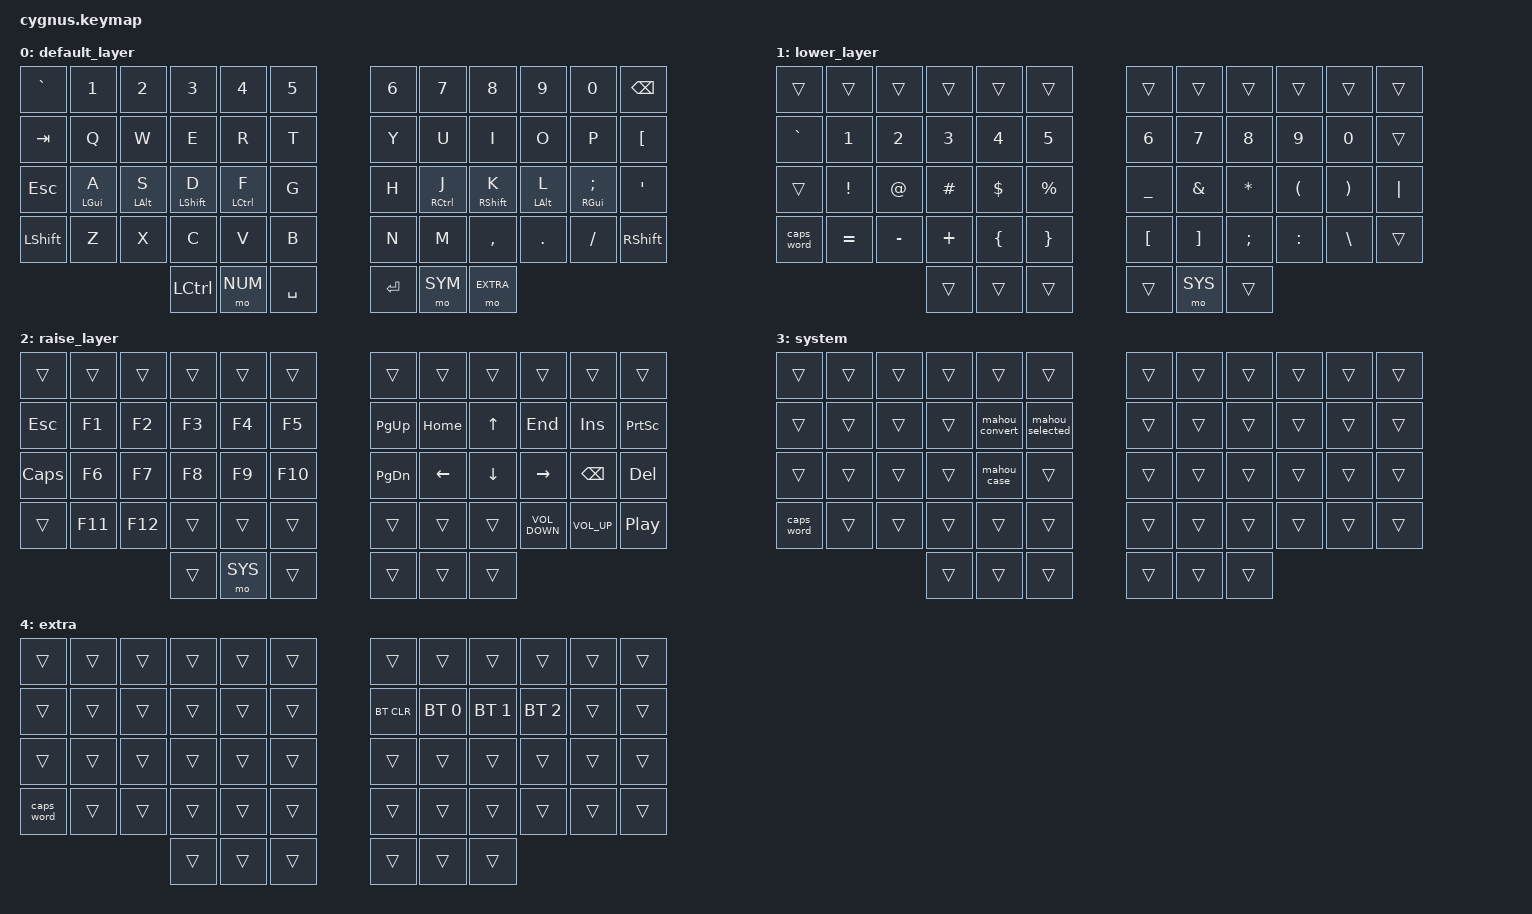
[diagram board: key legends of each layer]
#include <behaviors.dtsi>
#include <dt-bindings/zmk/bt.h>
#include <dt-bindings/zmk/keys.h>

#define DEFAULT 0
#define NUM 1
#define SYM 2
#define SYS 3
#define EXTRA 4

&lt {
    tapping-term-ms = <300>;
    quick-tap-ms = <200>;
    flavor = "hold-preferred";
};

&caps_word { continue-list = <UNDER MINUS BSPC DEL>; };

/ {
    behaviors {
        hm: homerow_mods {
            compatible = "zmk,behavior-hold-tap";
            label = "HOMEROW_MODS";
            #binding-cells = <2>;
            tapping-term-ms = <200>;
            quick-tap-ms = <0>;
            flavor = "tap-preferred";
            bindings = <&kp>, <&kp>;
        };

        u_caps_word: u_caps_word {
            compatible = "zmk,behavior-mod-morph";
            label = "u_caps_word";
            #binding-cells = <0>;
            bindings = <&caps_word>, <&kp CAPS>;

            mods = <(MOD_LSFT|MOD_RSFT)>;
        };
    };

    macros {
        mahou_convert: new_macro {
            compatible = "zmk,behavior-macro";
            #binding-cells = <0>;
            bindings =
                <&macro_press>,
                <&kp LGUI>,
                <&macro_tap>,
                <&kp F4>,
                <&macro_release>,
                <&kp LGUI>;

            label = "NEW_MACRO";
        };

        mahou_selected: mahou_selected {
            compatible = "zmk,behavior-macro";
            #binding-cells = <0>;
            bindings =
                <&macro_press>,
                <&kp LGUI>,
                <&macro_tap>,
                <&kp F5>,
                <&macro_release>,
                <&kp LGUI>;

            label = "MAHOU_SELECTED";
        };

        mahou_case: mahou_case {
            compatible = "zmk,behavior-macro";
            #binding-cells = <0>;
            bindings =
                <&macro_press>,
                <&kp LS(LGUI)>,
                <&macro_tap>,
                <&kp F4>,
                <&macro_release>,
                <&kp LS(LGUI)>;

            label = "MAHOU_CASE";
        };
    };

    keymap {
        compatible = "zmk,keymap";

        default_layer {
            bindings = <
&kp GRAVE   &kp N1          &kp N2          &kp N3            &kp N4       &kp N5       &kp N6   &kp N7       &kp N8            &kp N9          &kp N0                  &kp BSPC
&kp TAB     &kp Q           &kp W           &kp E             &kp R        &kp T        &kp Y    &kp U        &kp I              &kp O           &kp P                   &kp LBKT
&kp ESC     &hm LGUI A      &hm LALT S      &hm LSHFT D       &hm LCTRL F  &kp G        &kp H    &hm RCTRL J  &hm RSHFT K        &hm LALT L      &hm RGUI SEMI           &kp SQT
&kp LSHFT   &kp Z           &kp X           &kp C             &kp V        &kp B        &kp N    &kp M        &kp COMMA          &kp DOT         &kp FSLH                &kp RSHFT
                                          &kp LCTRL          &mo NUM      &kp SPACE    &kp RET  &mo SYM      &mo EXTRA
            >;
        };

        lower_layer {
            bindings = <
&trans      &trans      &trans      &trans      &trans      &trans      &trans      &trans      &trans      &trans      &trans      &trans
&kp GRAVE   &kp N1      &kp N2      &kp N3      &kp N4      &kp N5      &kp N6      &kp N7      &kp N8      &kp N9      &kp N0      &trans
&trans      &kp EXCL    &kp AT      &kp HASH    &kp DLLR    &kp PRCNT   &kp UNDER   &kp AMPS    &kp ASTRK   &kp LPAR    &kp RPAR   &kp PIPE
&caps_word  &kp EQUAL   &kp MINUS   &kp PLUS    &kp LBRC    &kp RBRC    &kp LBKT    &kp RBKT    &kp SEMI  &kp COLON  &kp BSLH    &trans
                            &trans  &trans      &trans      &trans      &mo SYS     &trans
            >;
        };

        raise_layer {
            bindings = <
&trans        &trans  &trans  &trans  &trans  &trans  &trans    &trans    &trans    &trans            &trans        &trans
&kp ESC       &kp F1  &kp F2  &kp F3  &kp F4  &kp F5  &kp PG_UP &kp HOME  &kp UP    &kp END           &kp INS       &kp PRINTSCREEN
&kp CAPS      &kp F6  &kp F7  &kp F8  &kp F9  &kp F10 &kp PG_DN &kp LEFT  &kp DOWN  &kp RIGHT         &kp BSPC      &kp DEL
&trans        &kp F11 &kp F12 &trans  &trans  &trans  &trans    &trans    &trans    &kp C_VOLUME_DOWN &kp C_VOL_UP  &kp C_PLAY_PAUSE
                                  &trans  &mo SYS  &trans     &trans     &trans     &trans
            >;
        };

        system {
            bindings = <
&trans      &trans  &trans  &trans  &trans          &trans           &trans  &trans  &trans  &trans  &trans  &trans
&trans      &trans  &trans  &trans  &mahou_convert  &mahou_selected  &trans  &trans  &trans  &trans  &trans  &trans
&trans      &trans  &trans  &trans  &mahou_case     &trans           &trans  &trans  &trans  &trans  &trans  &trans
&caps_word  &trans  &trans  &trans  &trans          &trans           &trans  &trans  &trans  &trans  &trans  &trans
                            &trans  &trans          &trans           &trans  &trans  &trans
            >;
        };

        extra {
            bindings = <
&trans      &trans  &trans  &trans  &trans  &trans    &trans      &trans        &trans        &trans        &trans  &trans
&trans      &trans  &trans  &trans  &trans  &trans    &bt BT_CLR  &bt BT_SEL 0  &bt BT_SEL 1  &bt BT_SEL 2  &trans  &trans
&trans      &trans  &trans  &trans  &trans  &trans    &trans      &trans        &trans        &trans        &trans  &trans
&caps_word  &trans  &trans  &trans  &trans  &trans    &trans      &trans        &trans        &trans        &trans  &trans
                            &trans  &trans  &trans    &trans      &trans        &trans
            >;
        };
    };
};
